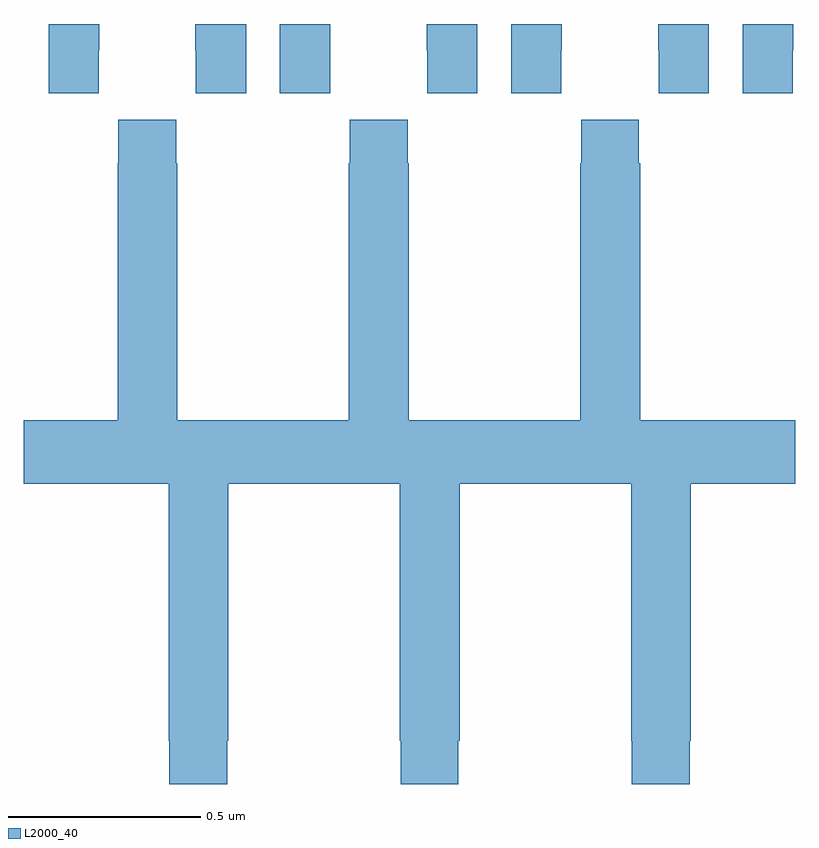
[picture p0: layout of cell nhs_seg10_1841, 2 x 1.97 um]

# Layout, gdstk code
import gdstk
lib = gdstk.Library(unit=1e-6, precision=1e-09)
def P(c, l, *ps):  # polygons
    for p in ps: c.add(gdstk.Polygon(p, *l))
L2000_40 = (2000, 40)

nhs_seg10_1841 = lib.new_cell('nhs_seg10_1841')
P(nhs_seg10_1841, L2000_40, [(133.194,1309.432),(133.195,1309.432),(133.195,1309.5),(133.064,1309.5),(133.064,1309.32),(133.194,1309.32)],
  [(133.576,1309.5),(133.445,1309.5),(133.445,1309.432),(133.446,1309.432),(133.446,1309.32),(133.576,1309.32)],
  [(133.794,1309.432),(133.795,1309.432),(133.795,1309.5),(133.664,1309.5),(133.664,1309.32),(133.794,1309.32)],
  [(134.176,1309.5),(134.045,1309.5),(134.045,1309.432),(134.046,1309.432),(134.046,1309.32),(134.176,1309.32)],
  [(134.394,1309.432),(134.395,1309.432),(134.395,1309.5),(134.264,1309.5),(134.264,1309.32),(134.394,1309.32)],
  [(134.776,1309.5),(134.645,1309.5),(134.645,1309.432),(134.646,1309.432),(134.646,1309.32),(134.776,1309.32)],
  [(134.994,1309.432),(134.995,1309.432),(134.995,1309.5),(134.864,1309.5),(134.864,1309.32),(134.994,1309.32)],
  [(133.527,1307.641),(133.53,1307.641),(133.53,1308.308),(133.975,1308.308),(133.975,1307.641),(133.977,1307.641),(133.977,1307.529),(134.127,1307.529),(134.127,1307.641),(134.13,1307.641),(134.13,1308.308),(134.575,1308.308),(134.575,1307.641),(134.577,1307.641),(134.577,1307.529),(134.727,1307.529),(134.727,1307.641),(134.73,1307.641),(134.73,1308.308),(135,1308.308),(135,1308.472),(134.598,1308.472),(134.598,1309.139),(134.595,1309.139),(134.595,1309.252),(134.445,1309.252),(134.445,1309.139),(134.443,1309.139),(134.443,1308.472),(133.998,1308.472),(133.998,1309.139),(133.995,1309.139),(133.995,1309.252),(133.845,1309.252),(133.845,1309.139),(133.843,1309.139),(133.843,1308.472),(133.398,1308.472),(133.398,1309.139),(133.395,1309.139),(133.395,1309.252),(133.245,1309.252),(133.245,1309.139),(133.243,1309.139),(133.243,1308.472),(133,1308.472),(133,1308.308),(133.375,1308.308),(133.375,1307.641),(133.377,1307.641),(133.377,1307.529),(133.527,1307.529)])

lib.write_gds('nhs_seg10_1841.gds')
